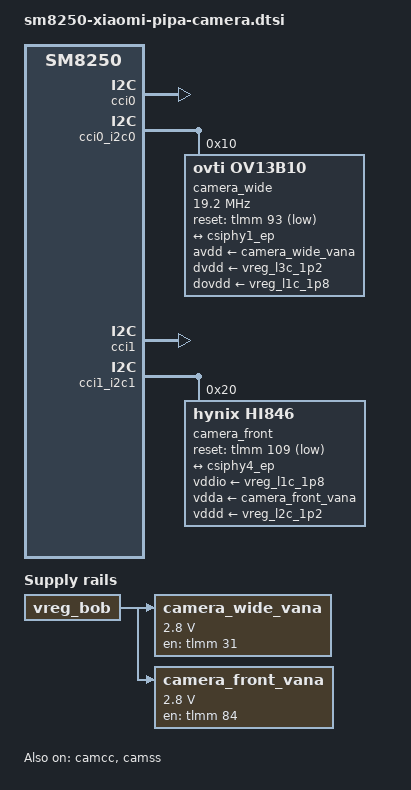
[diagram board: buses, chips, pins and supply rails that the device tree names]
// SPDX-License-Identifier: GPL-2.0-only OR BSD-2-Clause
/*
 * Xiaomi Pad 6 (pipa) cameras — ported from ArchPad-Pipa onto pipadb/linux.
 *
 * Rear  OV13B10  CCI0 I2C0 0x10  CSIPHY1  MCLK0/gpio94  RESET/gpio93  VANA/gpio31
 * Front HI846    CCI1 I2C1 0x20  CSIPHY4  MCLK3/gpio97  RESET/gpio109 VANA/gpio84
 *
 * Electricals match ArchPad (Xiaomi pipa-t-oss). Do not "improve" GPIOs.
 */

#include <dt-bindings/media/video-interfaces.h>

/ {
	camera_wide_vana: camera-wide-vana-regulator {
		compatible = "regulator-fixed";
		regulator-name = "camera_wide_vana";
		regulator-min-microvolt = <2800000>;
		regulator-max-microvolt = <2800000>;
		regulator-enable-ramp-delay = <135>;
		enable-active-high;
		gpio = <&tlmm 31 GPIO_ACTIVE_HIGH>;
		vin-supply = <&vreg_bob>;
	};

	camera_front_vana: camera-front-vana-regulator {
		compatible = "regulator-fixed";
		regulator-name = "camera_front_vana";
		regulator-min-microvolt = <2800000>;
		regulator-max-microvolt = <2800000>;
		regulator-enable-ramp-delay = <135>;
		enable-active-high;
		gpio = <&tlmm 84 GPIO_ACTIVE_HIGH>;
		vin-supply = <&vreg_bob>;
	};
};

&camcc {
	status = "okay";
};

&camss {
	vdda-phy-supply = <&vreg_l5a_0p88>;
	vdda-pll-supply = <&vreg_l9a_1p2>;
	status = "okay";

	ports {
		port@1 {
			csiphy1_ep: endpoint {
				clock-lanes = <7>;
				data-lanes = <0 1 2 3>;
				bus-type = <MEDIA_BUS_TYPE_CSI2_DPHY>;
				remote-endpoint = <&camera_ov13b10_ep>;
			};
		};

		port@4 {
			csiphy4_ep: endpoint {
				clock-lanes = <7>;
				data-lanes = <0 1>;
				bus-type = <MEDIA_BUS_TYPE_CSI2_DPHY>;
				remote-endpoint = <&camera_hi846_ep>;
			};
		};
	};
};

&cci0 {
	status = "okay";
};

&cci0_i2c0 {
	camera_wide: camera@10 {
		compatible = "ovti,ov13b10";
		reg = <0x10>;
		avdd-supply = <&camera_wide_vana>;
		dvdd-supply = <&vreg_l3c_1p2>;
		dovdd-supply = <&vreg_l1c_1p8>;
		clocks = <&camcc CAM_CC_MCLK0_CLK>;
		clock-frequency = <19200000>;
		reset-gpios = <&tlmm 93 GPIO_ACTIVE_LOW>;
		pinctrl-0 = <&mclk0_active>;
		pinctrl-names = "default";
		orientation = <1>;
		rotation = <90>;

		port {
			camera_ov13b10_ep: endpoint {
				bus-type = <MEDIA_BUS_TYPE_CSI2_DPHY>;
				data-lanes = <1 2 3 4>;
				link-frequencies = /bits/ 64 <560000000>;
				remote-endpoint = <&csiphy1_ep>;
			};
		};
	};
};

&cci1 {
	status = "okay";
};

&cci1_i2c1 {
	camera_front: camera@20 {
		compatible = "hynix,hi846";
		reg = <0x20>;
		vddio-supply = <&vreg_l1c_1p8>;
		vdda-supply = <&camera_front_vana>;
		vddd-supply = <&vreg_l2c_1p2>;
		clocks = <&camcc CAM_CC_MCLK3_CLK>;
		assigned-clocks = <&camcc CAM_CC_MCLK3_CLK>;
		assigned-clock-rates = <19200000>;
		reset-gpios = <&tlmm 109 GPIO_ACTIVE_LOW>;
		pinctrl-0 = <&camera_front_active>;
		pinctrl-1 = <&camera_front_sleep>;
		pinctrl-names = "default", "sleep";
		orientation = <0>;
		rotation = <270>;

		port {
			camera_hi846_ep: endpoint {
				bus-type = <MEDIA_BUS_TYPE_CSI2_DPHY>;
				data-lanes = <1 2>;
				link-frequencies = /bits/ 64 <144000000 288000000 360000000 576000000 720000000>;
				remote-endpoint = <&csiphy4_ep>;
			};
		};
	};
};

&tlmm {
	mclk0_active: mclk0-active-state {
		pins = "gpio94";
		function = "cam_mclk";
		bias-disable;
		drive-strength = <2>;
	};

	camera_front_active: camera-front-active-state {
		mclk-pins {
			pins = "gpio97";
			function = "cam_mclk";
			bias-disable;
			drive-strength = <4>;
		};

		reset-pins {
			pins = "gpio109";
			function = "gpio";
			bias-disable;
			drive-strength = <2>;
		};
	};

	camera_front_sleep: camera-front-sleep-state {
		mclk-pins {
			pins = "gpio97";
			function = "cam_mclk";
			bias-pull-down;
			drive-strength = <4>;
		};

		reset-pins {
			pins = "gpio109";
			function = "gpio";
			bias-pull-down;
			drive-strength = <2>;
			output-low;
		};
	};
};
